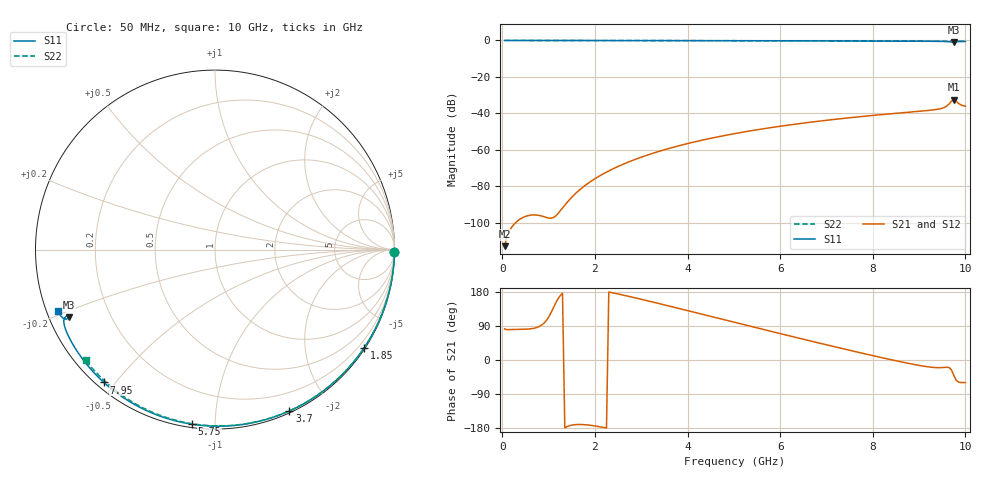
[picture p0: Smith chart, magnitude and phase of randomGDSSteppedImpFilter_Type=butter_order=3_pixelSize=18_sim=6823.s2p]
! freq	dB(S11)	phase(S11)	dB(S12)	phase(S12)
!  dB(S21)	phase(S21)	dB(S22)	phase(S22)
!S-par simulation data
#  GHz  S  DB  R 50
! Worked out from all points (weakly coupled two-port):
!   200 points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, 50 MHz to 10 GHz, reference 50 ohm
!   highest |S21| = -32.54 dB at 9.75 GHz (marker M1); lowest = -113.0 dB at 50 MHz (marker M2)
!   lowest |S11| = -0.9 dB at 9.75 GHz (marker M3), VSWR 18.72, Z = 2.8 - j11 ohm
!   |S11| at or under -10 dB: nowhere
!   |S22| runs from -0.5 to 0.0 dB; largest |S21 - S12| = 0
!   S11 on the Smith chart (normalised r, x): 50 MHz: open; 1.85 GHz: 0.03, -3.32; 3.7 GHz: 0.02, -1.56; 5.75 GHz: 0.02, -0.88; 7.95 GHz: 0.02, -0.47; 10 GHz: 0.03, -0.19
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0.05  -0.00 -0.9  -113.00 82.0  -113.00 82.0  -0.00 -0.8
0.85  -0.02 -15.6  -96.43 92.2  -96.43 92.2  -0.02 -13.7
1.75  -0.04 -31.8  -80.41 -170.5  -80.41 -170.5  -0.04 -27.8
1.85  -0.04 -33.5  -78.51 -171.6  -78.51 -171.6  -0.04 -29.4
2.15  -0.05 -38.8  -73.70 -177.1  -73.70 -177.1  -0.04 -34.0
2.5  -0.06 -44.9  -69.21 174.3  -69.21 174.3  -0.05 -39.4
2.9  -0.07 -51.8  -65.04 163.2  -65.04 163.2  -0.06 -45.5
3.4  -0.08 -60.3  -60.79 148.5  -60.79 148.5  -0.07 -52.9
3.7  -0.09 -65.2  -58.61 139.4  -58.61 139.4  -0.08 -57.3
4.35  -0.11 -75.8  -54.58 119.7  -54.58 119.7  -0.10 -66.7
5.05  -0.13 -86.8  -51.02 98.4  -51.02 98.4  -0.12 -76.5
5.75  -0.16 -97.6  -48.07 77.2  -48.07 77.2  -0.14 -86.0
6.7  -0.22 -111.7  -44.76 48.9  -44.76 48.9  -0.19 -98.5
7.95  -0.31 -129.9  -41.30 12.9  -41.30 12.9  -0.27 -114.4
8.35  -0.35 -135.7  -40.36 2.0  -40.36 2.0  -0.31 -119.3
9.45  -0.51 -152.1  -37.55 -20.3  -37.55 -20.3  -0.41 -132.8
9.6  -0.62 -154.8  -36.00 -19.1  -36.00 -19.1  -0.43 -134.6
9.7  -0.87 -155.9  -33.33 -26.3  -33.33 -26.3  -0.43 -135.7
9.75  -0.93 -155.1  -32.54 -40.5  -32.54 -40.5  -0.43 -136.4
9.8  -0.77 -154.9  -33.35 -53.2  -33.35 -53.2  -0.43 -137.1
9.9  -0.58 -156.7  -35.34 -59.5  -35.34 -59.5  -0.45 -138.3
10  -0.55 -158.6  -36.12 -59.6  -36.12 -59.6  -0.47 -139.5
